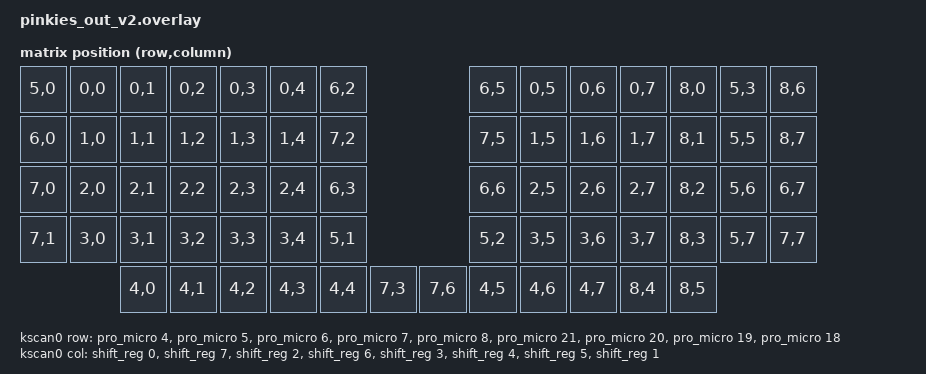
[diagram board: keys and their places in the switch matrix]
/*
 * Copyright (c) 2021 The ZMK Contributors
 *
 * SPDX-License-Identifier: MIT
 */

#include <dt-bindings/zmk/matrix_transform.h>

/ {
    chosen {
        zmk,kscan = &kscan0;
        zmk,matrix_transform = &default_transform;
        // for logging, remove later
        // zephyr,console = &cdc_acm_uart;
    };

    kscan0: kscan_0 {
        compatible = "zmk,kscan-gpio-matrix";
        diode-direction = "col2row";

        col-gpios
            = <&shift_reg 0 (GPIO_ACTIVE_HIGH)>
            , <&shift_reg 7 (GPIO_ACTIVE_HIGH)>
            , <&shift_reg 2 (GPIO_ACTIVE_HIGH)>
            , <&shift_reg 6 (GPIO_ACTIVE_HIGH)>
            , <&shift_reg 3 (GPIO_ACTIVE_HIGH)>
            , <&shift_reg 4 (GPIO_ACTIVE_HIGH)>
            , <&shift_reg 5 (GPIO_ACTIVE_HIGH)>
            , <&shift_reg 1 (GPIO_ACTIVE_HIGH)>
            ;

        row-gpios
            = <&pro_micro 4  (GPIO_ACTIVE_HIGH | GPIO_PULL_DOWN)> // row 0
            , <&pro_micro 5  (GPIO_ACTIVE_HIGH | GPIO_PULL_DOWN)> // row 1
            , <&pro_micro 6  (GPIO_ACTIVE_HIGH | GPIO_PULL_DOWN)> // row 2
            , <&pro_micro 7  (GPIO_ACTIVE_HIGH | GPIO_PULL_DOWN)> // row 3
            , <&pro_micro 8  (GPIO_ACTIVE_HIGH | GPIO_PULL_DOWN)> // row 4
            , <&pro_micro 21 (GPIO_ACTIVE_HIGH | GPIO_PULL_DOWN)> // row 5
            , <&pro_micro 20 (GPIO_ACTIVE_HIGH | GPIO_PULL_DOWN)> // row 6
            , <&pro_micro 19 (GPIO_ACTIVE_HIGH | GPIO_PULL_DOWN)> // row 7
            , <&pro_micro 18 (GPIO_ACTIVE_HIGH | GPIO_PULL_DOWN)> // row 8
            ;
    };

    default_transform: keymap_transform_0 {
        compatible = "zmk,matrix-transform";
        columns = <8>;
        rows = <9>;

        map = <
            RC(5,0) RC(0,0) RC(0,1) RC(0,2) RC(0,3) RC(0,4) RC(6,2)                        RC(6,5) RC(0,5) RC(0,6) RC(0,7) RC(8,0) RC(5,3) RC(8,6)
            RC(6,0) RC(1,0) RC(1,1) RC(1,2) RC(1,3) RC(1,4) RC(7,2)                        RC(7,5) RC(1,5) RC(1,6) RC(1,7) RC(8,1) RC(5,5) RC(8,7)
            RC(7,0) RC(2,0) RC(2,1) RC(2,2) RC(2,3) RC(2,4) RC(6,3)                        RC(6,6) RC(2,5) RC(2,6) RC(2,7) RC(8,2) RC(5,6) RC(6,7)
            RC(7,1) RC(3,0) RC(3,1) RC(3,2) RC(3,3) RC(3,4) RC(5,1)                        RC(5,2) RC(3,5) RC(3,6) RC(3,7) RC(8,3) RC(5,7) RC(7,7)
                            RC(4,0) RC(4,1) RC(4,2) RC(4,3) RC(4,4)   RC(7,3)   RC(7,6)    RC(4,5) RC(4,6) RC(4,7) RC(8,4) RC(8,5)
        >;
    };
};

&spi1 {
    status = "okay";
    cs-gpios = <&pro_micro 10 GPIO_ACTIVE_LOW>;

    shift_reg: 595@0 {
        compatible = "zmk,gpio-595";
        status = "okay";
        gpio-controller;
        spi-max-frequency = <200000>;
        reg = <0>;
        #gpio-cells = <2>;
        ngpios = <8>;
    };
};

&pro_micro_i2c {
    // note that you need to hand wire the LED pin, which is P0.06
    status = "okay";
    
    glidepoint: glidepoint@2a {
        compatible = "cirque,pinnacle";
        reg = <0x2a>;
        status = "okay";
        // The aforementioned LED data pin that we're not using, hand wired to cirque DR
        dr-gpios = <&pro_micro 1 (GPIO_ACTIVE_HIGH)>;

        sensitivity = "4x";
        sleep;
        no-taps;
    };
};

/ {
    glidepoint_input {
        compatible = "zmk,input-listener";
        device = <&glidepoint>;

        xy-swap;
        y-invert;
        x-invert;
    };
};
